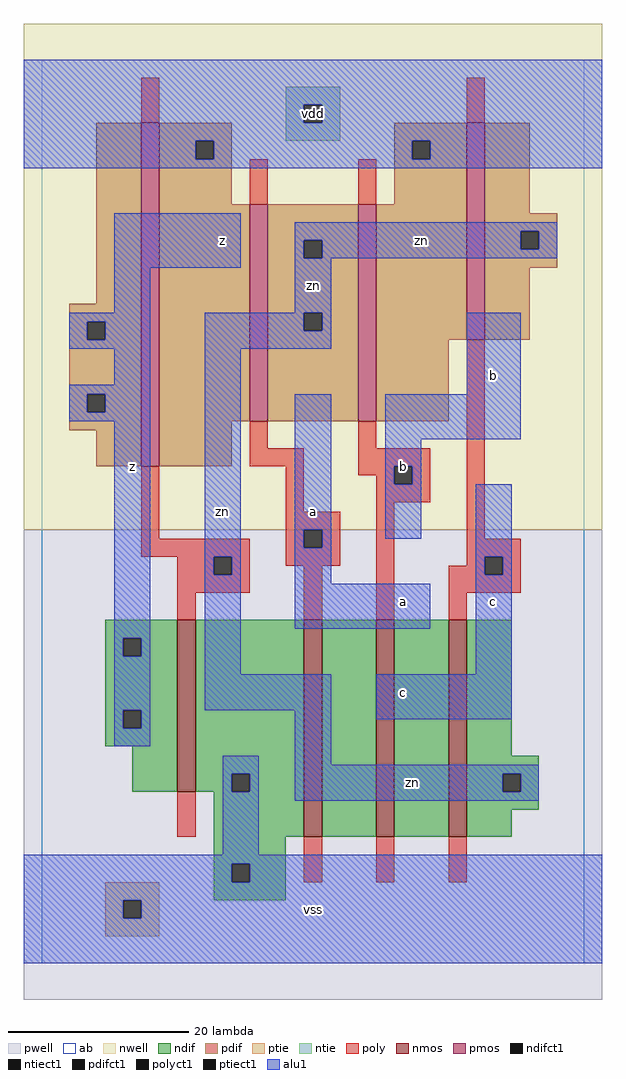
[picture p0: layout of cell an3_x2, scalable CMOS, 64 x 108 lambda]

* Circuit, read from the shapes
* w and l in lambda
.subckt an3_x2 a b c vdd vss z zn
M1 vss zn z vss nfet w=19 l=2
M2 n1 a vss vss nfet w=24 l=2
M3 n2 b n1 vss nfet w=24 l=2
M4 zn c n2 vss nfet w=24 l=2
M5 vdd zn z vdd pfet w=38 l=2
M6 zn a vdd vdd pfet w=24 l=2
M7 vdd b zn vdd pfet w=24 l=2
M8 zn c vdd vdd pfet w=24 l=2
.ends

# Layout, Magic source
magic
tech scmos
<< ab >>
rect 0 0 60 100
<< nwell >>
rect -2 48 62 104
<< pwell >>
rect -2 -4 62 48
<< poly >>
rect 11 93 13 98
rect 47 93 49 98
rect 23 84 25 89
rect 35 84 37 89
rect 23 57 25 60
rect 35 57 37 60
rect 23 55 29 57
rect 11 47 13 55
rect 27 50 29 55
rect 35 55 43 57
rect 35 54 39 55
rect 37 53 39 54
rect 41 53 43 55
rect 37 51 43 53
rect 27 48 33 50
rect 11 45 23 47
rect 15 43 19 45
rect 21 43 23 45
rect 27 46 29 48
rect 31 46 33 48
rect 27 44 33 46
rect 15 41 23 43
rect 15 38 17 41
rect 29 38 31 44
rect 37 38 39 51
rect 47 47 49 69
rect 47 45 53 47
rect 47 44 49 45
rect 45 43 49 44
rect 51 43 53 45
rect 45 41 53 43
rect 45 38 47 41
rect 15 14 17 19
rect 29 9 31 14
rect 37 9 39 14
rect 45 9 47 14
<< ndif >>
rect 7 36 15 38
rect 7 34 9 36
rect 11 34 15 36
rect 7 28 15 34
rect 7 26 9 28
rect 11 26 15 28
rect 7 24 15 26
rect 10 19 15 24
rect 17 21 29 38
rect 17 19 21 21
rect 23 19 29 21
rect 19 14 29 19
rect 31 14 37 38
rect 39 14 45 38
rect 47 23 52 38
rect 47 21 55 23
rect 47 19 51 21
rect 53 19 55 21
rect 47 17 55 19
rect 47 14 52 17
rect 19 11 27 14
rect 19 9 21 11
rect 23 9 27 11
rect 19 7 27 9
<< pdif >>
rect 6 73 11 93
rect 3 71 11 73
rect 3 69 5 71
rect 7 69 11 71
rect 3 63 11 69
rect 3 61 5 63
rect 7 61 11 63
rect 3 59 11 61
rect 6 55 11 59
rect 13 91 21 93
rect 39 91 47 93
rect 13 89 17 91
rect 19 89 21 91
rect 39 89 41 91
rect 43 89 47 91
rect 13 84 21 89
rect 39 84 47 89
rect 13 60 23 84
rect 25 80 35 84
rect 25 78 29 80
rect 31 78 35 80
rect 25 72 35 78
rect 25 70 29 72
rect 31 70 35 72
rect 25 60 35 70
rect 37 69 47 84
rect 49 83 54 93
rect 49 81 57 83
rect 49 79 53 81
rect 55 79 57 81
rect 49 77 57 79
rect 49 69 54 77
rect 37 60 45 69
rect 13 55 21 60
<< alu1 >>
rect -2 95 62 100
rect -2 93 29 95
rect 31 93 62 95
rect -2 91 62 93
rect -2 89 17 91
rect 19 89 41 91
rect 43 89 62 91
rect -2 88 62 89
rect 8 77 22 83
rect 28 81 57 82
rect 28 80 53 81
rect 28 78 29 80
rect 31 79 53 80
rect 55 79 57 81
rect 31 78 57 79
rect 8 72 12 77
rect 28 72 32 78
rect 3 71 12 72
rect 3 69 5 71
rect 7 69 12 71
rect 3 68 12 69
rect 8 64 12 68
rect 3 63 12 64
rect 3 61 5 63
rect 7 61 12 63
rect 3 60 12 61
rect 8 36 12 60
rect 8 34 9 36
rect 11 34 12 36
rect 8 28 12 34
rect 18 70 29 72
rect 31 70 32 72
rect 18 68 32 70
rect 18 45 22 68
rect 47 63 53 72
rect 18 43 19 45
rect 21 43 22 45
rect 18 32 22 43
rect 28 48 32 63
rect 28 46 29 48
rect 31 46 32 48
rect 38 58 53 63
rect 38 55 42 58
rect 38 53 39 55
rect 41 53 42 55
rect 38 47 42 53
rect 28 42 32 46
rect 48 45 52 53
rect 48 43 49 45
rect 51 43 52 45
rect 28 37 43 42
rect 48 32 52 43
rect 18 28 32 32
rect 8 26 9 28
rect 11 26 12 28
rect 8 24 12 26
rect 20 21 24 23
rect 20 19 21 21
rect 23 19 24 21
rect 20 12 24 19
rect 28 22 32 28
rect 37 27 52 32
rect 28 21 55 22
rect 28 19 51 21
rect 53 19 55 21
rect 28 18 55 19
rect -2 11 62 12
rect -2 9 21 11
rect 23 9 62 11
rect -2 7 62 9
rect -2 5 9 7
rect 11 5 62 7
rect -2 0 62 5
<< ptie >>
rect 7 7 13 9
rect 7 5 9 7
rect 11 5 13 7
rect 7 3 13 5
<< ntie >>
rect 27 95 33 97
rect 27 93 29 95
rect 31 93 33 95
rect 27 91 33 93
<< nmos >>
rect 15 19 17 38
rect 29 14 31 38
rect 37 14 39 38
rect 45 14 47 38
<< pmos >>
rect 11 55 13 93
rect 23 60 25 84
rect 35 60 37 84
rect 47 69 49 93
<< polyct1 >>
rect 39 53 41 55
rect 19 43 21 45
rect 29 46 31 48
rect 49 43 51 45
<< ndifct1 >>
rect 9 34 11 36
rect 9 26 11 28
rect 21 19 23 21
rect 51 19 53 21
rect 21 9 23 11
<< ntiect1 >>
rect 29 93 31 95
<< ptiect1 >>
rect 9 5 11 7
<< pdifct1 >>
rect 5 69 7 71
rect 5 61 7 63
rect 17 89 19 91
rect 41 89 43 91
rect 29 78 31 80
rect 29 70 31 72
rect 53 79 55 81
<< labels >>
rlabel alu1 10 55 10 55 6 z
rlabel alu1 20 50 20 50 6 zn
rlabel alu1 20 80 20 80 6 z
rlabel alu1 30 6 30 6 6 vss
rlabel alu1 40 40 40 40 6 a
rlabel alu1 40 30 40 30 6 c
rlabel alu1 30 50 30 50 6 a
rlabel alu1 40 55 40 55 6 b
rlabel alu1 30 75 30 75 6 zn
rlabel ntiect1 30 94 30 94 6 vdd
rlabel alu1 41 20 41 20 6 zn
rlabel alu1 50 40 50 40 6 c
rlabel alu1 50 65 50 65 6 b
rlabel alu1 42 80 42 80 6 zn
<< end >>
